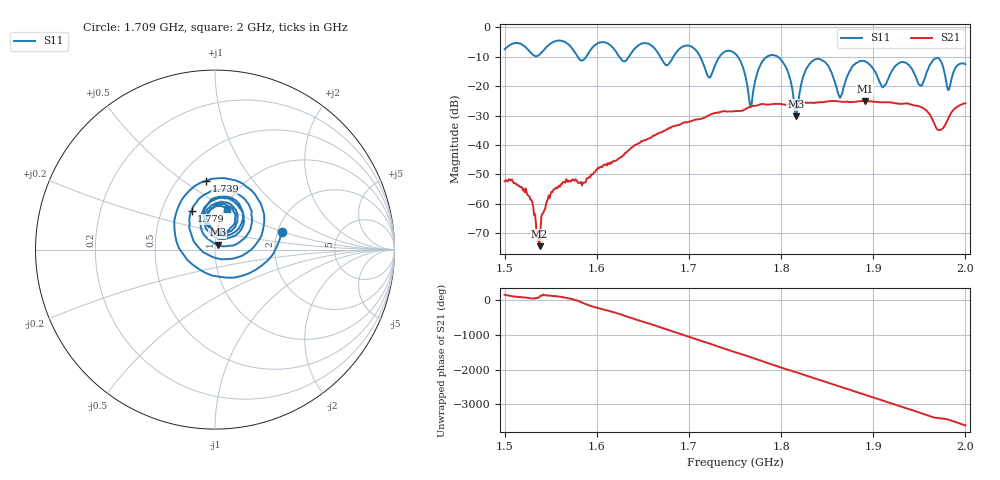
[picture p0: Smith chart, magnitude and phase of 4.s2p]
! NanoVNA-App by SYSJOINT et al v1.1.209 (+OD18)
! Date: 2026-01-21 14:06:48
! Start: 1,5GHz Stop: 2GHz Points: 501
! S-Parameter data: F S11 S21 S12 S22
# Hz S RI R 50
!  Frequency  S11_Real  S11_Imag  S21_Real  S21_Imag  S12_Real  S12_Imag  S22_Real  S22_Imag
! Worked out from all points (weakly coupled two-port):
!   501 points, 1.5 GHz to 2 GHz, reference 50 ohm
!   highest |S21| = -24.99 dB at 1.891 GHz (marker M1); lowest = -74.5 dB at 1.538 GHz (marker M2)
!   lowest |S11| = -30.2 dB at 1.816 GHz (marker M3), VSWR 1.06, Z = 51.5 + j2.76 ohm
!   |S11| at or under -10 dB: 1.712 GHz to 1.733 GHz (20.89 MHz wide, 1.21 % of centre); 1.753 GHz to 1.785 GHz (31.41 MHz wide, 1.78 % of centre); 1.797 GHz to end of sweep (the widest 3 of 6)
!   S12 and S22 are empty: the file has one direction only
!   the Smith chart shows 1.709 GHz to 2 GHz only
!   S11 on the Smith chart (normalised r, x): 1.709 GHz: 2.11, +0.47; 1.739 GHz: 0.68, +0.62; 1.779 GHz: 0.71, +0.33; 2 GHz: 1.02, +0.49
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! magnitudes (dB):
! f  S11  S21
! 1.5 GHz  -7.4  -52.4
! 1.525 GHz  -7.4  -57.1
! 1.538 GHz  -9.2  -74.5
! 1.552 GHz  -5.1  -56.0
! 1.584 GHz  -11.3  -53.8
! 1.667 GHz  -8.9  -36.0
! 1.709 GHz  -8.3  -31.3
! 1.722 GHz  -17.1  -29.9
! 1.739 GHz  -8.2  -28.5
! 1.75 GHz  -8.8  -28.5
! 1.767 GHz  -27.2  -27.0
! 1.779 GHz  -12.0  -26.1
! 1.802 GHz  -11.9  -26.2
! 1.816 GHz  -30.2  -26.0
! 1.834 GHz  -11.5  -25.6
! 1.864 GHz  -24.0  -25.2
! 1.891 GHz  -11.5  -25.0
! 1.917 GHz  -17.0  -25.5
! 1.952 GHz  -19.8  -27.1
! 1.972 GHz  -10.8  -34.9
! 1.982 GHz  -21.3  -30.6
! 2 GHz  -12.5  -25.8
